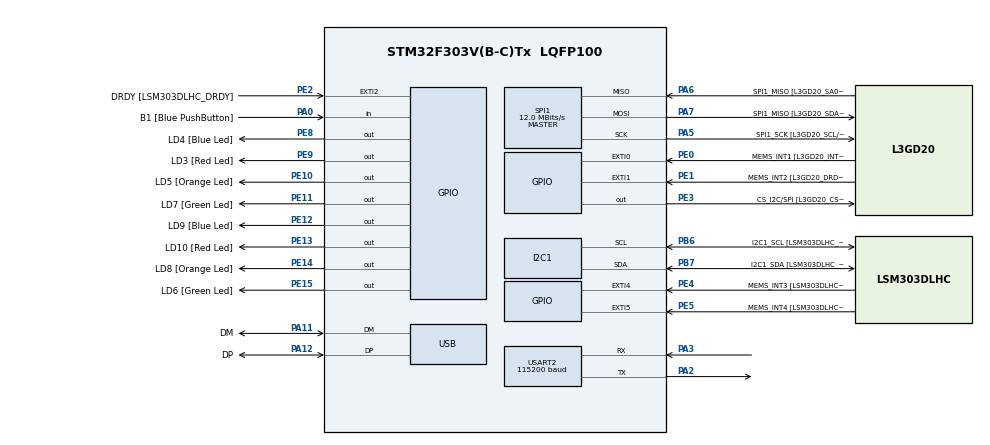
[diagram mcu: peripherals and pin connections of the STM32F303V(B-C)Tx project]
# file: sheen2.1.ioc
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I2C1.Timing=0x2000090E
I2C1.Timing-I2C=0x2000090E
Mcu.Family=STM32F3
Mcu.Name=STM32F303V(B-C)Tx
Mcu.Package=LQFP100
NVIC.PriorityGroup=NVIC_PRIORITYGROUP_0
PA0.GPIO_Label=B1 [Blue PushButton]
PA0.Signal=GPIO_Input
PA11.GPIO_Label=DM
PA11.Mode=Device
PA11.Signal=USB_DM
PA12.GPIO_Label=DP
PA12.Mode=Device
PA12.Signal=USB_DP
PA13.GPIO_Label=SWDIO
PA13.Mode=Serial_Wire
PA13.Signal=SYS_JTMS-SWDIO
PA14.GPIO_Label=SWCLK
PA14.Mode=Serial_Wire
PA14.Signal=SYS_JTCK-SWCLK
PA2.Mode=Asynchronous
PA2.Signal=USART2_TX
PA3.Mode=Asynchronous
PA3.Signal=USART2_RX
PA5.GPIO_Label=SPI1_SCK [L3GD20_SCL/SPC]
PA5.Mode=Full_Duplex_Master
PA5.Signal=SPI1_SCK
PA6.GPIO_Label=SPI1_MISO [L3GD20_SA0/SDO]
PA6.Mode=Full_Duplex_Master
PA6.Signal=SPI1_MISO
PA7.GPIO_Label=SPI1_MISO [L3GD20_SDA/SDI/SDO]
PA7.Mode=Full_Duplex_Master
PA7.Signal=SPI1_MOSI
PB3.GPIO_Label=SWO
PB3.Signal=SYS_JTDO-TRACESWO
PB6.GPIO_Label=I2C1_SCL [LSM303DLHC_SCL]
PB6.GPIO_Pu=GPIO_PULLUP
PB6.Mode=I2C
PB6.Signal=I2C1_SCL
PB7.GPIO_Label=I2C1_SDA [LSM303DLHC_SDA]
PB7.GPIO_Pu=GPIO_PULLUP
PB7.Mode=I2C
PB7.Signal=I2C1_SDA
PC14-OSC32_IN.GPIO_Label=OSC32_IN
PC14-OSC32_IN.Signal=RCC_OSC32_IN
PC15-OSC32_OUT.GPIO_Label=OSC32_OUT
PC15-OSC32_OUT.Signal=RCC_OSC32_OUT
PE0.GPIO_Label=MEMS_INT1 [L3GD20_INT1]
PE0.GPIO_ModeDefaultEXTI=GPIO_MODE_EVT_RISING
PE0.Signal=GPXTI0
PE1.GPIO_Label=MEMS_INT2 [L3GD20_DRDY/INT2]
PE1.GPIO_ModeDefaultEXTI=GPIO_MODE_EVT_RISING
PE1.Signal=GPXTI1
PE10.GPIO_Label=LD5 [Orange Led]
PE10.Signal=GPIO_Output
PE11.GPIO_Label=LD7 [Green Led]
PE11.Signal=GPIO_Output
PE12.GPIO_Label=LD9 [Blue Led]
PE12.Signal=GPIO_Output
PE13.GPIO_Label=LD10 [Red Led]
PE13.Signal=GPIO_Output
PE14.GPIO_Label=LD8 [Orange Led]
PE14.Signal=GPIO_Output
PE15.GPIO_Label=LD6 [Green Led]
PE15.Signal=GPIO_Output
PE2.GPIO_Label=DRDY [LSM303DLHC_DRDY]
PE2.GPIO_ModeDefaultEXTI=GPIO_MODE_EVT_RISING
PE2.Signal=GPXTI2
PE3.GPIO_Label=CS_I2C/SPI [L3GD20_CS_I2C/SPI]
PE3.Signal=GPIO_Output
PE4.GPIO_Label=MEMS_INT3 [LSM303DLHC_INT1]
PE4.GPIO_ModeDefaultEXTI=GPIO_MODE_EVT_RISING
PE4.Signal=GPXTI4
PE5.GPIO_Label=MEMS_INT4 [LSM303DLHC_INT2]
PE5.GPIO_ModeDefaultEXTI=GPIO_MODE_EVT_RISING
PE5.Signal=GPXTI5
PE8.GPIO_Label=LD4 [Blue Led]
PE8.Signal=GPIO_Output
PE9.GPIO_Label=LD3 [Red Led]
PE9.Signal=GPIO_Output
PF0-OSC_IN.GPIO_Label=OSC_IN
PF0-OSC_IN.Mode=HSE-External-Clock-Source
PF0-OSC_IN.Signal=RCC_OSC_IN
PF1-OSC_OUT.GPIO_Label=OSC_OUT
PF1-OSC_OUT.Signal=RCC_OSC_OUT
ProjectManager.HeapSize=0x200
ProjectManager.StackSize=0x400
ProjectManager.TargetToolchain=CMake
RCC.AHBFreq_Value=48000000
RCC.APB1CLKDivider=RCC_HCLK_DIV2
RCC.APB1Freq_Value=24000000
RCC.APB1TimFreq_Value=48000000
RCC.APB2Freq_Value=48000000
RCC.APB2TimFreq_Value=48000000
RCC.CortexFreq_Value=48000000
RCC.HCLKFreq_Value=48000000
RCC.HSE_VALUE=8000000
RCC.HSI_VALUE=8000000
RCC.LSE_VALUE=32768
RCC.PLLMUL=RCC_PLL_MUL6
RCC.SYSCLKFreq_VALUE=48000000
RCC.SYSCLKSourceVirtual=RCC_SYSCLKSOURCE_PLLCLK
RCC.USBFreq_Value=48000000
SPI1.BaudRatePrescaler=SPI_BAUDRATEPRESCALER_4
SPI1.BaudRatePrescaler-Full_Duplex_Master=SPI_BAUDRATEPRESCALER_2
SPI1.CalculateBaudRate=12.0 MBits/s
SPI1.CalculateBaudRate-Full_Duplex_Master=24.0 MBits/s
SPI1.Direction=SPI_DIRECTION_2LINES
SPI1.Mode=SPI_MODE_MASTER
SPI1.Mode-Full_Duplex_Master=SPI_MODE_MASTER
SPI1.VirtualType=VM_MASTER
USART2.BaudRate=115200
USART2.VirtualMode-Asynchronous=VM_ASYNC
board=STM32F3DISCOVERY

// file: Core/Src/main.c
/* USER CODE BEGIN Header */
/**
******************************************************************************
* @file : main.c
* @brief : Main program body
******************************************************************************
* @attention
*
* Copyright (c) 2025 STMicroelectronics.
* All rights reserved.
*
* This software is licensed under terms that can be found in the LICENSE file
* in the root directory of this software component.
* If no LICENSE file comes with this software, it is provided AS-IS.
*
******************************************************************************
*/
/* USER CODE END Header */
#include "main.h"
#include "string.h" //for strlen
#include "my_printf.h"//custom printf header

I2C_HandleTypeDef hi2c1;

SPI_HandleTypeDef hspi1;

UART_HandleTypeDef huart2;

PCD_HandleTypeDef hpcd_USB_FS;

void SystemClock_Config(void);
static void MX_GPIO_Init(void);
static void MX_I2C1_Init(void);
static void MX_SPI1_Init(void);
static void MX_USART2_UART_Init(void);
static void MX_USB_PCD_Init(void);

int main(void)
{

/* Reset of all peripherals, Initializes the Flash interface and the Systick. */
HAL_Init();

/* Configure the system clock */
SystemClock_Config();

/* Initialize all configured peripherals */
MX_GPIO_Init();
MX_I2C1_Init();
MX_SPI1_Init();
MX_USART2_UART_Init();
MX_USB_PCD_Init();

/* Infinite loop */
/* USER CODE BEGIN WHILE */

// Task 1
int x = 42;
float y = 3.14f;

// //Task 2
// int a = 2, b = 3;

// int LHS = (a + b) * (a + b);
// int RHS = (a * a) + (b * b) + (2 * a * b);

while (1){
//task 2
// myPrintf("a = %d, b = %d\r\n", a, b);
// myPrintf("LHS: %d\r\n", LHS);
// myPrintf("RHS: %d\r\n", RHS);

// if (LHS == RHS)
// myPrintf("Identity Verified: Yes\r\n");
// else
// myPrintf("Identity Verified: No\r\n");
/* USER CODE END WHILE */
myPrintf("Value of x = %d, y = %.2f\r\n", x, y); // task1
HAL_Delay(1000); //task 1 and 2
/* USER CODE BEGIN 3 */

// //task 3
// char str[] = "Microcontrollers";
// int key = 8774;
// int len = strlen(str);

// myPrintf("Original: %s\r\n", str);

// myPrintf("Encrypted (ASCII): ");
// for (int i = 0; i < len; i++) {
// unsigned char ch = str[i] + (key % 256);
// myPrintf("%d ", ch);
// str[i] = ch;
// }
// myPrintf("\r\n");

// for (int i = 0; i < len; i++) {
// str[i] = str[i] - (key % 256);
// }

// myPrintf("Decrypted: %s\r\n", str);

// HAL_Delay(500);

//task 4:
// int A[2][2] = { {1, 2}, {3, 4} };
//     int B[2][2] = { {5, 6}, {7, 8} };
//     int C[2][2] = { {0, 0}, {0, 0} };

//     for (int i = 0; i < 2; i++) {
//         for (int j = 0; j < 2; j++) {
//             int sum = 0;
//             for (int k = 0; k < 2; k++) {
//                 sum += A[i][k] * B[k][j];
//             }
//             C[i][j] = sum;
//         }
//     }myPrintf("Armstrong Numbers betweesudo screen/dev/ttyUSB0 115200n 100 and 999:\r\n");

    for (int num = 100; num <= 999; num++) {
        int original = num;
        int sum = 0;

        int d1 = num % 10;         // last digit
        int d2 = (num / 10) % 10;  // middle digit
        int d3 = num / 100;        // first digit

        sum = (d1 * d1 * d1) + (d2 * d2 * d2) + (d3 * d3 * d3);

        if (sum == original) {
            myPrintf("%d\r\n", original);
        }
    }

    HAL_Delay(2000);

//     // Print Matrix A
//     myPrintf("Matrix A:\r\n");
//     myPrintf("[ %d  %d ]\r\n", A[0][0], A[0][1]);
//     myPrintf("[ %d  %d ]\r\n\r\n", A[1][0], A[1][1]);

//     // Print Matrix B
//     myPrintf("Matrix B:\r\n");
//     myPrintf("[ %d  %d ]\r\n", B[0][0], B[0][1]);
//     myPrintf("[ %d  %d ]\r\n\r\n", B[1][0], B[1][1]);

//     // Print Resultant Matrix C
//     myPrintf("C = A * B:\r\n");
//     myPrintf("[ %d  %d ]\r\n", C[0][0], C[0][1]);
//     myPrintf("[ %d  %d ]\r\n\r\n", C[1][0], C[1][1]);

//     HAL_Delay(2000);

//task 5
myPrintf("Armstrong Numbers between 100 and 999:\r\n");

    for (int num = 100; num <= 999; num++) {
        int original = num;
        int sum = 0;

        int d1 = num % 10;
        int d2 = (num / 10) % 10;
        int d3 = num / 100;

        sum = (d1 * d1 * d1) + (d2 * d2 * d2) + (d3 * d3 * d3);

        if (sum == original) {
            myPrintf("%d\r\n", original);
        }
    }

    HAL_Delay(500);

}
/* USER CODE END 3 */
}

void SystemClock_Config(void)
{
RCC_OscInitTypeDef RCC_OscInitStruct = {0};
RCC_ClkInitTypeDef RCC_ClkInitStruct = {0};
RCC_PeriphCLKInitTypeDef PeriphClkInit = {0};

/** Initializes the RCC Oscillators according to the specified parameters
* in the RCC_OscInitTypeDef structure.
*/
RCC_OscInitStruct.OscillatorType = RCC_OSCILLATORTYPE_HSI|RCC_OSCILLATORTYPE_HSE;
RCC_OscInitStruct.HSEState = RCC_HSE_BYPASS;
RCC_OscInitStruct.HSEPredivValue = RCC_HSE_PREDIV_DIV1;
RCC_OscInitStruct.HSIState = RCC_HSI_ON;
RCC_OscInitStruct.HSICalibrationValue = RCC_HSICALIBRATION_DEFAULT;
RCC_OscInitStruct.PLL.PLLState = RCC_PLL_ON;
RCC_OscInitStruct.PLL.PLLSource = RCC_PLLSOURCE_HSE;
RCC_OscInitStruct.PLL.PLLMUL = RCC_PLL_MUL6;
if (HAL_RCC_OscConfig(&RCC_OscInitStruct) != HAL_OK)
{
Error_Handler();
}

/** Initializes the CPU, AHB and APB buses clocks
*/
RCC_ClkInitStruct.ClockType = RCC_CLOCKTYPE_HCLK|RCC_CLOCKTYPE_SYSCLK
|RCC_CLOCKTYPE_PCLK1|RCC_CLOCKTYPE_PCLK2;
RCC_ClkInitStruct.SYSCLKSource = RCC_SYSCLKSOURCE_PLLCLK;
RCC_ClkInitStruct.AHBCLKDivider = RCC_SYSCLK_DIV1;
RCC_ClkInitStruct.APB1CLKDivider = RCC_HCLK_DIV2;
RCC_ClkInitStruct.APB2CLKDivider = RCC_HCLK_DIV1;

if (HAL_RCC_ClockConfig(&RCC_ClkInitStruct, FLASH_LATENCY_1) != HAL_OK)
{
Error_Handler();
}
PeriphClkInit.PeriphClockSelection = RCC_PERIPHCLK_USB|RCC_PERIPHCLK_USART2
|RCC_PERIPHCLK_I2C1;
PeriphClkInit.Usart2ClockSelection = RCC_USART2CLKSOURCE_PCLK1;
PeriphClkInit.I2c1ClockSelection = RCC_I2C1CLKSOURCE_HSI;
PeriphClkInit.USBClockSelection = RCC_USBCLKSOURCE_PLL;
if (HAL_RCCEx_PeriphCLKConfig(&PeriphClkInit) != HAL_OK)
{
Error_Handler();
}
}

static void MX_I2C1_Init(void)
{

hi2c1.Instance = I2C1;
hi2c1.Init.Timing = 0x2000090E;
hi2c1.Init.OwnAddress1 = 0;
hi2c1.Init.AddressingMode = I2C_ADDRESSINGMODE_7BIT;
hi2c1.Init.DualAddressMode = I2C_DUALADDRESS_DISABLE;
hi2c1.Init.OwnAddress2 = 0;
hi2c1.Init.OwnAddress2Masks = I2C_OA2_NOMASK;
hi2c1.Init.GeneralCallMode = I2C_GENERALCALL_DISABLE;
hi2c1.Init.NoStretchMode = I2C_NOSTRETCH_DISABLE;
if (HAL_I2C_Init(&hi2c1) != HAL_OK)
{
Error_Handler();
}

/** Configure Analogue filter
*/
if (HAL_I2CEx_ConfigAnalogFilter(&hi2c1, I2C_ANALOGFILTER_ENABLE) != HAL_OK)
{
Error_Handler();
}

/** Configure Digital filter
*/
if (HAL_I2CEx_ConfigDigitalFilter(&hi2c1, 0) != HAL_OK)
{
Error_Handler();
}

}

static void MX_SPI1_Init(void)
{

/* SPI1 parameter configuration*/
hspi1.Instance = SPI1;
hspi1.Init.Mode = SPI_MODE_MASTER;
hspi1.Init.Direction = SPI_DIRECTION_2LINES;
hspi1.Init.DataSize = SPI_DATASIZE_4BIT;
hspi1.Init.CLKPolarity = SPI_POLARITY_LOW;
hspi1.Init.CLKPhase = SPI_PHASE_1EDGE;
hspi1.Init.NSS = SPI_NSS_SOFT;
hspi1.Init.BaudRatePrescaler = SPI_BAUDRATEPRESCALER_4;
hspi1.Init.FirstBit = SPI_FIRSTBIT_MSB;
hspi1.Init.TIMode = SPI_TIMODE_DISABLE;
hspi1.Init.CRCCalculation = SPI_CRCCALCULATION_DISABLE;
hspi1.Init.CRCPolynomial = 7;
hspi1.Init.CRCLength = SPI_CRC_LENGTH_DATASIZE;
hspi1.Init.NSSPMode = SPI_NSS_PULSE_ENABLE;
if (HAL_SPI_Init(&hspi1) != HAL_OK)
{
Error_Handler();
}

}

static void MX_USART2_UART_Init(void)
{

huart2.Instance = USART2;
huart2.Init.BaudRate = 115200;
huart2.Init.WordLength = UART_WORDLENGTH_8B;
huart2.Init.StopBits = UART_STOPBITS_1;
huart2.Init.Parity = UART_PARITY_NONE;
huart2.Init.Mode = UART_MODE_TX_RX;
huart2.Init.HwFlowCtl = UART_HWCONTROL_NONE;
huart2.Init.OverSampling = UART_OVERSAMPLING_16;
huart2.Init.OneBitSampling = UART_ONE_BIT_SAMPLE_DISABLE;
huart2.AdvancedInit.AdvFeatureInit = UART_ADVFEATURE_NO_INIT;
if (HAL_UART_Init(&huart2) != HAL_OK)
{
Error_Handler();
}

}

static void MX_USB_PCD_Init(void)
{

hpcd_USB_FS.Instance = USB;
hpcd_USB_FS.Init.dev_endpoints = 8;
hpcd_USB_FS.Init.speed = PCD_SPEED_FULL;
hpcd_USB_FS.Init.phy_itface = PCD_PHY_EMBEDDED;
hpcd_USB_FS.Init.low_power_enable = DISABLE;
hpcd_USB_FS.Init.battery_charging_enable = DISABLE;
if (HAL_PCD_Init(&hpcd_USB_FS) != HAL_OK)
{
Error_Handler();
}

}

static void MX_GPIO_Init(void)
{
GPIO_InitTypeDef GPIO_InitStruct = {0};

/* GPIO Ports Clock Enable */
__HAL_RCC_GPIOE_CLK_ENABLE();
__HAL_RCC_GPIOC_CLK_ENABLE();
__HAL_RCC_GPIOF_CLK_ENABLE();
__HAL_RCC_GPIOA_CLK_ENABLE();
__HAL_RCC_GPIOB_CLK_ENABLE();

/*Configure GPIO pin Output Level */
HAL_GPIO_WritePin(GPIOE, CS_I2C_SPI_Pin|LD4_Pin|LD3_Pin|LD5_Pin
|LD7_Pin|LD9_Pin|LD10_Pin|LD8_Pin
|LD6_Pin, GPIO_PIN_RESET);

/*Configure GPIO pins : DRDY_Pin MEMS_INT3_Pin MEMS_INT4_Pin MEMS_INT1_Pin
MEMS_INT2_Pin */
GPIO_InitStruct.Pin = DRDY_Pin|MEMS_INT3_Pin|MEMS_INT4_Pin|MEMS_INT1_Pin
|MEMS_INT2_Pin;
GPIO_InitStruct.Mode = GPIO_MODE_EVT_RISING;
GPIO_InitStruct.Pull = GPIO_NOPULL;
HAL_GPIO_Init(GPIOE, &GPIO_InitStruct);

/*Configure GPIO pins : CS_I2C_SPI_Pin LD4_Pin LD3_Pin LD5_Pin
LD7_Pin LD9_Pin LD10_Pin LD8_Pin
LD6_Pin */
GPIO_InitStruct.Pin = CS_I2C_SPI_Pin|LD4_Pin|LD3_Pin|LD5_Pin
|LD7_Pin|LD9_Pin|LD10_Pin|LD8_Pin
|LD6_Pin;
GPIO_InitStruct.Mode = GPIO_MODE_OUTPUT_PP;
GPIO_InitStruct.Pull = GPIO_NOPULL;
GPIO_InitStruct.Speed = GPIO_SPEED_FREQ_LOW;
HAL_GPIO_Init(GPIOE, &GPIO_InitStruct);

/*Configure GPIO pin : B1_Pin */
GPIO_InitStruct.Pin = B1_Pin;
GPIO_InitStruct.Mode = GPIO_MODE_INPUT;
GPIO_InitStruct.Pull = GPIO_NOPULL;
HAL_GPIO_Init(B1_GPIO_Port, &GPIO_InitStruct);

}

void Error_Handler(void)
{
__disable_irq();
while (1)
{
}
}
